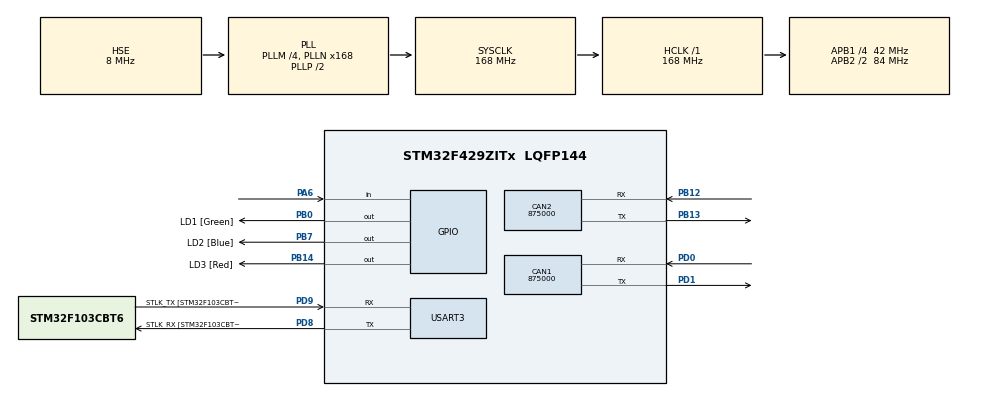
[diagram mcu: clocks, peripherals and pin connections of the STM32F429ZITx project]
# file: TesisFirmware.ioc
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CAN1.CalculateBaudRate=875000
CAN1.CalculateTimeBit=1142
CAN1.CalculateTimeQuantum=380.95238095238096
CAN2.CalculateBaudRate=875000
CAN2.CalculateTimeBit=1142
CAN2.CalculateTimeQuantum=380.95238095238096
Mcu.Family=STM32F4
Mcu.Name=STM32F429ZITx
Mcu.Package=LQFP144
NVIC.PriorityGroup=NVIC_PRIORITYGROUP_4
PA6.Signal=GPIO_Input
PB0.GPIO_Label=LD1 [Green]
PB0.Signal=GPIO_Output
PB12.Mode=CAN_Activate
PB12.Signal=CAN2_RX
PB13.Mode=CAN_Activate
PB13.Signal=CAN2_TX
PB14.GPIO_Label=LD3 [Red]
PB14.Signal=GPIO_Output
PB7.GPIO_Label=LD2 [Blue]
PB7.Signal=GPIO_Output
PC14/OSC32_IN.Mode=LSE-External-Oscillator
PC14/OSC32_IN.Signal=RCC_OSC32_IN
PC15/OSC32_OUT.Mode=LSE-External-Oscillator
PC15/OSC32_OUT.Signal=RCC_OSC32_OUT
PD0.Mode=CAN_Activate
PD0.Signal=CAN1_RX
PD1.Mode=CAN_Activate
PD1.Signal=CAN1_TX
PD8.GPIO_Label=STLK_RX [STM32F103CBT6_PA3]
PD8.Mode=Asynchronous
PD8.Signal=USART3_TX
PD9.GPIO_Label=STLK_TX [STM32F103CBT6_PA2]
PD9.Mode=Asynchronous
PD9.Signal=USART3_RX
PH0/OSC_IN.GPIO_Label=MCO [STM32F103CBT6_PA8]
PH0/OSC_IN.Mode=HSE-External-Clock-Source
PH0/OSC_IN.Signal=RCC_OSC_IN
PH1/OSC_OUT.Mode=HSE-External-Clock-Source
PH1/OSC_OUT.Signal=RCC_OSC_OUT
ProjectManager.HeapSize=0x200
ProjectManager.StackSize=0x400
ProjectManager.TargetToolchain=STM32CubeIDE
RCC.48MHZClocksFreq_Value=48000000
RCC.AHBFreq_Value=168000000
RCC.APB1CLKDivider=RCC_HCLK_DIV4
RCC.APB1Freq_Value=42000000
RCC.APB1TimFreq_Value=84000000
RCC.APB2CLKDivider=RCC_HCLK_DIV2
RCC.APB2Freq_Value=84000000
RCC.APB2TimCLKDivider=2
RCC.APB2TimFreq_Value=168000000
RCC.CortexFreq_Value=168000000
RCC.HCLKFreq_Value=168000000
RCC.HSE_VALUE=8000000
RCC.HSI_VALUE=16000000
RCC.PLLM=4
RCC.PLLMUL=RCC_PLL_MUL9
RCC.PLLN=168
RCC.PLLQ=7
RCC.PLLSourceVirtual=RCC_PLLSOURCE_HSE
RCC.PRESCALERUSB=RCC_USBCLKSOURCE_PLL_DIV1_5
RCC.SYSCLKFreq_VALUE=168000000
RCC.SYSCLKSource=RCC_SYSCLKSOURCE_PLLCLK
RCC.SYSCLKSourceVirtual=RCC_SYSCLKSOURCE_PLLCLK
RCC.USBFreq_Value=48000000
RCC.VCOOutputFreq_Value=336000000
USART3.VirtualMode=VM_ASYNC
board=NUCLEO-F429ZI

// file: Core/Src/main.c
/* USER CODE BEGIN Header */
/**
  ******************************************************************************
  * @file           : main.c
  * @brief          : Main program body
  ******************************************************************************
  * @attention
  *
  * Copyright (c) 2022 STMicroelectronics.
  * All rights reserved.
  *
  * This software is licensed under terms that can be found in the LICENSE file
  * in the root directory of this software component.
  * If no LICENSE file comes with this software, it is provided AS-IS.
  *
  ******************************************************************************
  */
/* USER CODE END Header */
#include "main.h"

/* USER CODE BEGIN Includes */
#include "decode.h"
#include "API_uart.h"
#include "API_delay.h"
#include <stdbool.h>
#include <string.h>
/* USER CODE END Includes */

 CAN_HandleTypeDef hcan1;
CAN_HandleTypeDef hcan2;

UART_HandleTypeDef huart3;

/* USER CODE BEGIN PV */
UART_HandleTypeDef huart3;
CAN_TxHeaderTypeDef pTxHeader;
CAN_RxHeaderTypeDef pRxHeader;
CAN_FilterTypeDef sFilterConfig;

uint32_t pTxMailbox = 4;
uint8_t  txData[4]="CAN";
uint8_t  paraCAN[4];
uint8_t tamaño = 4;

/* USER CODE END PV */

void SystemClock_Config(void);
static void MX_GPIO_Init(void);
static void MX_USART3_UART_Init(void);
static void MX_CAN1_Init(void);
static void MX_CAN2_Init(void);

int main(void)
{

  /* MCU Configuration--------------------------------------------------------*/

  /* Reset of all peripherals, Initializes the Flash interface and the Systick. */
  HAL_Init();

  /* Configure the system clock */
  SystemClock_Config();

  /* Initialize all configured peripherals */
  MX_GPIO_Init();
  MX_USART3_UART_Init();
  MX_CAN1_Init();
  MX_CAN2_Init();
  /* USER CODE BEGIN 2 */
  /* Defino una variable y un vector para manejar los datos recibidos por la UART */
  int8_t len = 0;
  uint8_t rcvBuffer[255];
  uint8_t decodeBuffer[255];

  /* Inicializa la decodificacion y los retardos no bloqueantes */
  decodeInit(decodeBuffer,255);

  /*inicializa la UART y configura los parametros de comunicacion*/
  uartInit();
  //Se configuran los filtros para el puerto CAN

  sFilterConfig.FilterFIFOAssignment=CAN_FILTER_FIFO0;
  sFilterConfig.FilterIdHigh=0x12<<5;
  sFilterConfig.FilterIdLow=0;
  sFilterConfig.FilterMaskIdHigh=0;
  sFilterConfig.FilterMaskIdLow=0;
  sFilterConfig.FilterScale=CAN_FILTERSCALE_32BIT;
  sFilterConfig.FilterActivation=ENABLE;

  HAL_CAN_ConfigFilter(&hcan1,&sFilterConfig);
  HAL_CAN_Start(&hcan1);
  HAL_CAN_ActivateNotification(&hcan1, CAN_IT_RX_FIFO0_MSG_PENDING);

  HAL_CAN_ConfigFilter(&hcan2,&sFilterConfig);
  HAL_CAN_Start(&hcan2);
  HAL_CAN_ActivateNotification(&hcan2, CAN_IT_RX_FIFO0_MSG_PENDING);

  /* USER CODE END 2 */

  /* Infinite loop */
  /* USER CODE BEGIN WHILE */

  while (1)
  {
		if (uartRecvString(rcvBuffer, 1)) {               /* esta funcion recibe datos por la UART de a un caracter*/
			  len = getData(rcvBuffer[0], 62);            /* esta funcion obtiene los datos recibidos, los analiza y decodifica*/

			  if(len > 0){                                /* Consulta si el largo de trama es mayor a 0*/
				  uint8_t *vector = filter(decodeBuffer); /* esta funcion muestra datos filtrados de la trama*/
				  uartSendString(vector);                 /* esta funcion envia datos por la UART*/
				  free(vector);                           /* vacio al vector*/
				//  BSP_LED_Toggle(LED1);                   /* Led enciende cada vez que la trama es valida*/
			  }
		  }

		  HAL_CAN_RxFifo0MsgPendingCallback(&hcan2);
for(int i=0;i<5;i++)
{
       HAL_CAN_AddTxMessage(&hcan1, &pTxHeader, txData, &pTxMailbox);
       HAL_Delay(500);
if(HAL_CAN_GetState(&hcan2) == true)
		{
HAL_CAN_RxFifo0FullCallback(&hcan1);

       HAL_CAN_GetRxMessage(&hcan2, tamaño, &pRxHeader,paraCAN);
       HAL_Delay(500);}
}
       uartSendString(paraCAN);
    /* USER CODE END WHILE */

  }
}

void SystemClock_Config(void)
{
  RCC_OscInitTypeDef RCC_OscInitStruct = {0};
  RCC_ClkInitTypeDef RCC_ClkInitStruct = {0};

  /** Configure the main internal regulator output voltage
  */
  __HAL_RCC_PWR_CLK_ENABLE();
  __HAL_PWR_VOLTAGESCALING_CONFIG(PWR_REGULATOR_VOLTAGE_SCALE1);

  /** Initializes the RCC Oscillators according to the specified parameters
  * in the RCC_OscInitTypeDef structure.
  */
  RCC_OscInitStruct.OscillatorType = RCC_OSCILLATORTYPE_HSE;
  RCC_OscInitStruct.HSEState = RCC_HSE_BYPASS;
  RCC_OscInitStruct.PLL.PLLState = RCC_PLL_ON;
  RCC_OscInitStruct.PLL.PLLSource = RCC_PLLSOURCE_HSE;
  RCC_OscInitStruct.PLL.PLLM = 4;
  RCC_OscInitStruct.PLL.PLLN = 168;
  RCC_OscInitStruct.PLL.PLLP = RCC_PLLP_DIV2;
  RCC_OscInitStruct.PLL.PLLQ = 7;
  if (HAL_RCC_OscConfig(&RCC_OscInitStruct) != HAL_OK)
  {
    Error_Handler();
  }

  /** Initializes the CPU, AHB and APB buses clocks
  */
  RCC_ClkInitStruct.ClockType = RCC_CLOCKTYPE_HCLK|RCC_CLOCKTYPE_SYSCLK
                              |RCC_CLOCKTYPE_PCLK1|RCC_CLOCKTYPE_PCLK2;
  RCC_ClkInitStruct.SYSCLKSource = RCC_SYSCLKSOURCE_PLLCLK;
  RCC_ClkInitStruct.AHBCLKDivider = RCC_SYSCLK_DIV1;
  RCC_ClkInitStruct.APB1CLKDivider = RCC_HCLK_DIV4;
  RCC_ClkInitStruct.APB2CLKDivider = RCC_HCLK_DIV2;

  if (HAL_RCC_ClockConfig(&RCC_ClkInitStruct, FLASH_LATENCY_5) != HAL_OK)
  {
    Error_Handler();
  }
}

static void MX_CAN1_Init(void)
{

  hcan1.Instance = CAN1;
  hcan1.Init.Prescaler = 16;
  hcan1.Init.Mode = CAN_MODE_NORMAL;
  hcan1.Init.SyncJumpWidth = CAN_SJW_1TQ;
  hcan1.Init.TimeSeg1 = CAN_BS1_1TQ;
  hcan1.Init.TimeSeg2 = CAN_BS2_1TQ;
  hcan1.Init.TimeTriggeredMode = DISABLE;
  hcan1.Init.AutoBusOff = DISABLE;
  hcan1.Init.AutoWakeUp = DISABLE;
  hcan1.Init.AutoRetransmission = DISABLE;
  hcan1.Init.ReceiveFifoLocked = DISABLE;
  hcan1.Init.TransmitFifoPriority = DISABLE;
  if (HAL_CAN_Init(&hcan1) != HAL_OK)
  {
    Error_Handler();
  }

}

static void MX_CAN2_Init(void)
{

  hcan2.Instance = CAN2;
  hcan2.Init.Prescaler = 16;
  hcan2.Init.Mode = CAN_MODE_NORMAL;
  hcan2.Init.SyncJumpWidth = CAN_SJW_1TQ;
  hcan2.Init.TimeSeg1 = CAN_BS1_1TQ;
  hcan2.Init.TimeSeg2 = CAN_BS2_1TQ;
  hcan2.Init.TimeTriggeredMode = DISABLE;
  hcan2.Init.AutoBusOff = DISABLE;
  hcan2.Init.AutoWakeUp = DISABLE;
  hcan2.Init.AutoRetransmission = DISABLE;
  hcan2.Init.ReceiveFifoLocked = DISABLE;
  hcan2.Init.TransmitFifoPriority = DISABLE;
  if (HAL_CAN_Init(&hcan2) != HAL_OK)
  {
    Error_Handler();
  }

}

static void MX_USART3_UART_Init(void)
{

  huart3.Instance = USART3;
  huart3.Init.BaudRate = 115200;
  huart3.Init.WordLength = UART_WORDLENGTH_8B;
  huart3.Init.StopBits = UART_STOPBITS_1;
  huart3.Init.Parity = UART_PARITY_NONE;
  huart3.Init.Mode = UART_MODE_TX_RX;
  huart3.Init.HwFlowCtl = UART_HWCONTROL_NONE;
  huart3.Init.OverSampling = UART_OVERSAMPLING_16;
  if (HAL_UART_Init(&huart3) != HAL_OK)
  {
    Error_Handler();
  }

}

static void MX_GPIO_Init(void)
{
  GPIO_InitTypeDef GPIO_InitStruct = {0};

  /* GPIO Ports Clock Enable */
  __HAL_RCC_GPIOC_CLK_ENABLE();
  __HAL_RCC_GPIOH_CLK_ENABLE();
  __HAL_RCC_GPIOA_CLK_ENABLE();
  __HAL_RCC_GPIOB_CLK_ENABLE();
  __HAL_RCC_GPIOD_CLK_ENABLE();

  /*Configure GPIO pin Output Level */
  HAL_GPIO_WritePin(GPIOB, LD1_Pin|LD3_Pin|LD2_Pin, GPIO_PIN_RESET);

  /*Configure GPIO pin : PA6 */
  GPIO_InitStruct.Pin = GPIO_PIN_6;
  GPIO_InitStruct.Mode = GPIO_MODE_INPUT;
  GPIO_InitStruct.Pull = GPIO_NOPULL;
  HAL_GPIO_Init(GPIOA, &GPIO_InitStruct);

  /*Configure GPIO pins : LD1_Pin LD3_Pin LD2_Pin */
  GPIO_InitStruct.Pin = LD1_Pin|LD3_Pin|LD2_Pin;
  GPIO_InitStruct.Mode = GPIO_MODE_OUTPUT_PP;
  GPIO_InitStruct.Pull = GPIO_NOPULL;
  GPIO_InitStruct.Speed = GPIO_SPEED_FREQ_LOW;
  HAL_GPIO_Init(GPIOB, &GPIO_InitStruct);

}

void Error_Handler(void)
{
  __disable_irq();
  while (1)
  {
  }
}
